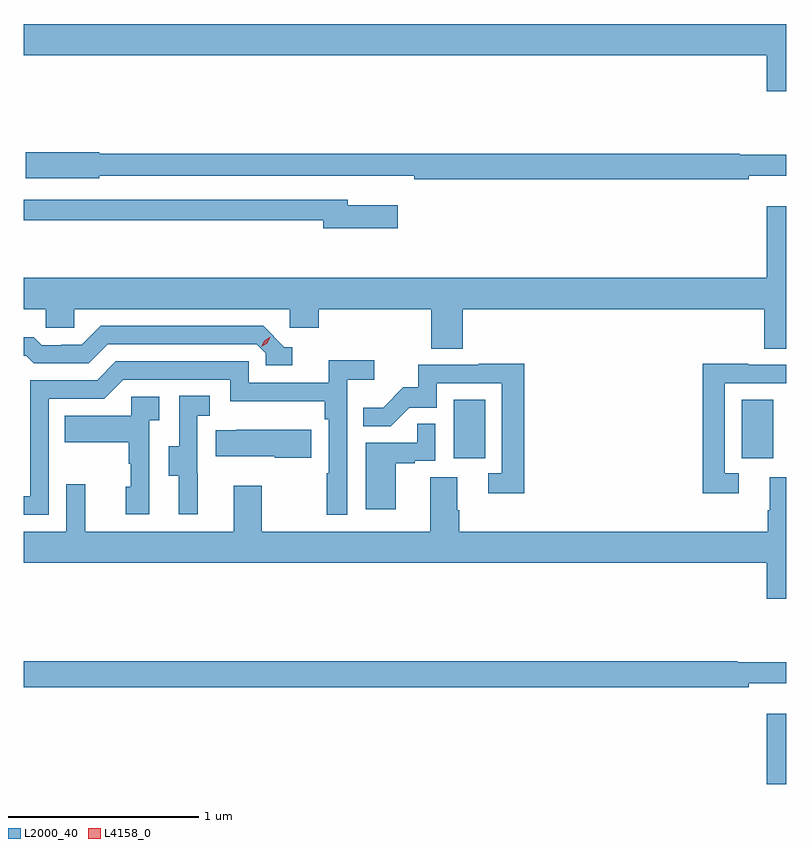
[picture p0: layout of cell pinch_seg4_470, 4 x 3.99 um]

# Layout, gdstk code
import gdstk
lib = gdstk.Library(unit=1e-6, precision=1e-09)
def R(c, l, rs):  # rectangles x0, y0, x1, y1
    for r in rs: c.add(gdstk.rectangle(r[:2], r[2:], *l))
def P(c, l, *ps):  # polygons
    for p in ps: c.add(gdstk.Polygon(p, *l))
L2000_40 = (2000, 40)
L4158_0 = (4158, 0)

pinch_seg4_470 = lib.new_cell('pinch_seg4_470')
R(pinch_seg4_470, L2000_40, [(932.24,762.359,932.34,762.727), (930.596,764.07,930.76,764.377), (932.108,764.07,932.272,764.377)])
P(pinch_seg4_470, L2000_40, [(932.34,766.348),(928.34,766.348),(928.34,766.184),(932.24,766.184),(932.24,765.996),(932.34,765.996)],
  [(932.144,765.551),(932.34,765.551),(932.34,765.661),(932.098,765.661),(932.098,765.668),(928.734,765.668),(928.734,765.674),(928.35,765.674),(928.35,765.539),(928.734,765.539),(928.734,765.552),(930.136,765.552),(930.136,765.551),(930.388,765.551),(930.388,765.532),(932.144,765.532)],
  [(930.301,765.397),(930.04,765.397),(930.04,765.426),(928.34,765.426),(928.34,765.318),(929.912,765.318),(929.912,765.275),(930.301,765.275)],
  [(930.644,764.852),(932.225,764.852),(932.225,764.644),(932.34,764.644),(932.34,765.391),(932.24,765.391),(932.24,765.016),(928.34,765.016),(928.34,764.852),(928.455,764.852),(928.455,764.754),(928.605,764.754),(928.605,764.852),(929.736,764.852),(929.736,764.754),(929.888,764.754),(929.888,764.852),(930.479,764.852),(930.479,764.644),(930.644,764.644)],
  [(929.749,764.652),(929.706,764.652),(929.595,764.763),(928.742,764.763),(928.643,764.664),(928.536,764.664),(928.536,764.661),(928.433,764.661),(928.391,764.704),(928.34,764.704),(928.34,764.607),(928.352,764.607),(928.391,764.568),(928.68,764.568),(928.779,764.667),(929.562,764.667),(929.61,764.619),(929.61,764.556),(929.749,764.556)],
  [(928.47,764.382),(928.761,764.382),(928.86,764.481),(929.424,764.481),(929.424,764.369),(929.92,764.369),(929.92,764.273),(929.94,764.273),(929.94,763.991),(929.928,763.991),(929.928,763.773),(930.036,763.773),(930.036,764.48),(930.178,764.48),(930.178,764.582),(929.939,764.582),(929.939,764.466),(929.52,764.466),(929.52,764.577),(928.823,764.577),(928.724,764.478),(928.374,764.478),(928.374,763.869),(928.34,763.869),(928.34,763.773),(928.47,763.773)],
  [(930.965,764.564),(930.727,764.564),(930.727,764.559),(930.409,764.559),(930.409,764.442),(930.332,764.442),(930.225,764.335),(930.121,764.335),(930.121,764.236),(930.265,764.236),(930.363,764.334),(930.507,764.334),(930.507,764.463),(930.849,764.463),(930.849,763.989),(930.777,763.989),(930.777,763.884),(930.965,763.884)],
  [(932.092,763.989),(932.019,763.989),(932.019,764.463),(932.34,764.463),(932.34,764.559),(932.141,764.559),(932.141,764.564),(931.903,764.564),(931.903,763.884),(932.092,763.884)],
  [(929.252,763.989),(929.25,763.989),(929.25,764.293),(929.314,764.293),(929.314,764.396),(929.154,764.396),(929.154,764.133),(929.099,764.133),(929.099,763.978),(929.153,763.978),(929.153,763.776),(929.252,763.776)],
  [(928.998,764.267),(929.05,764.267),(929.05,764.391),(928.902,764.391),(928.902,764.293),(928.555,764.293),(928.555,764.153),(928.89,764.153),(928.89,764.039),(928.9,764.039),(928.9,763.92),(928.874,763.92),(928.874,763.776),(928.998,763.776)],
  [(930.292,764.043),(930.392,764.043),(930.392,764.055),(930.498,764.055),(930.498,764.249),(930.403,764.249),(930.403,764.151),(930.134,764.151),(930.134,763.8),(930.292,763.8)],
  [(929.848,764.218),(929.455,764.218),(929.455,764.215),(929.347,764.215),(929.347,764.078),(929.657,764.078),(929.657,764.071),(929.848,764.071)],
  [(932.34,763.97),(932.255,763.97),(932.255,763.796),(932.243,763.796),(932.243,763.684),(930.626,763.684),(930.626,763.796),(930.613,763.796),(930.613,763.97),(930.473,763.97),(930.473,763.684),(929.589,763.684),(929.589,763.924),(929.441,763.924),(929.441,763.684),(928.661,763.684),(928.661,763.933),(928.563,763.933),(928.563,763.684),(928.34,763.684),(928.34,763.52),(932.24,763.52),(932.24,763.332),(932.34,763.332)],
  [(932.144,762.887),(932.34,762.887),(932.34,762.997),(932.086,762.997),(932.086,763.004),(928.34,763.004),(928.34,762.868),(932.144,762.868)])
P(pinch_seg4_470, L4158_0, [(929.585,764.653),(929.585,764.653),(929.601,764.686),(929.632,764.706),(929.632,764.706),(929.632,764.706),(929.616,764.673),(929.586,764.653)])

lib.write_gds('pinch_seg4_470.gds')
